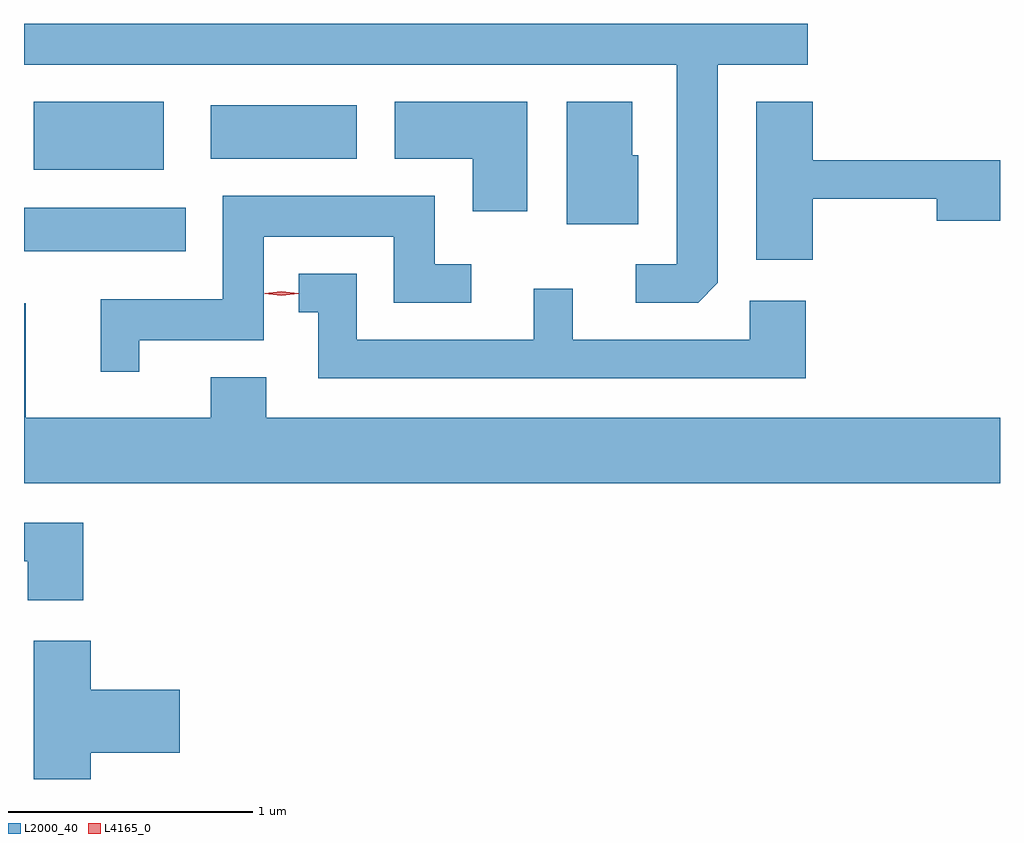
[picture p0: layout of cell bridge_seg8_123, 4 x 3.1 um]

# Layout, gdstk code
import gdstk
lib = gdstk.Library(unit=1e-6, precision=1e-09)
def R(c, l, rs):  # rectangles x0, y0, x1, y1
    for r in rs: c.add(gdstk.rectangle(r[:2], r[2:], *l))
def P(c, l, *ps):  # polygons
    for p in ps: c.add(gdstk.Polygon(p, *l))
L2000_40 = (2000, 40)
L4165_0 = (4165, 0)

bridge_seg8_123 = lib.new_cell('bridge_seg8_123')
R(bridge_seg8_123, L2000_40, [(1660.076,1808.506,1660.739,1808.684), (1660.116,1808.841,1660.649,1809.119), (1660.841,1808.886,1661.439,1809.104)])
P(bridge_seg8_123, L2000_40, [(1662.919,1808.377),(1662.919,1809.271),(1663.288,1809.271),(1663.288,1809.439),(1660.076,1809.439),(1660.076,1809.271),(1662.751,1809.271),(1662.751,1808.454),(1662.583,1808.454),(1662.583,1808.296),(1662.839,1808.296)],
  [(1662.139,1809.119),(1661.596,1809.119),(1661.596,1808.886),(1661.916,1808.886),(1661.916,1808.671),(1662.139,1808.671)],
  [(1663.309,1808.721),(1663.816,1808.721),(1663.816,1808.631),(1664.076,1808.631),(1664.076,1808.879),(1663.309,1808.879),(1663.309,1809.119),(1663.076,1809.119),(1663.076,1808.471),(1663.309,1808.471)],
  [(1662.594,1808.899),(1662.569,1808.899),(1662.569,1809.119),(1662.301,1809.119),(1662.301,1808.616),(1662.594,1808.616)],
  [(1660.549,1808.141),(1661.059,1808.141),(1661.059,1808.566),(1661.591,1808.566),(1661.591,1808.296),(1661.908,1808.296),(1661.908,1808.454),(1661.759,1808.454),(1661.759,1808.734),(1660.891,1808.734),(1660.891,1808.309),(1660.391,1808.309),(1660.391,1808.013),(1660.549,1808.013)],
  [(1663.279,1808.304),(1663.051,1808.304),(1663.051,1808.144),(1662.324,1808.144),(1662.324,1808.353),(1662.166,1808.353),(1662.166,1808.144),(1661.439,1808.144),(1661.439,1808.414),(1661.203,1808.414),(1661.203,1808.256),(1661.281,1808.256),(1661.281,1807.986),(1663.279,1807.986)],
  [(1664.076,1807.824),(1661.069,1807.824),(1661.069,1807.989),(1660.841,1807.989),(1660.841,1807.824),(1660.084,1807.824),(1660.084,1808.293),(1660.076,1808.293),(1660.076,1807.556),(1664.076,1807.556)],
  [(1660.319,1807.394),(1660.076,1807.394),(1660.076,1807.236),(1660.091,1807.236),(1660.091,1807.076),(1660.319,1807.076)],
  [(1660.349,1806.451),(1660.714,1806.451),(1660.714,1806.709),(1660.349,1806.709),(1660.349,1806.909),(1660.116,1806.909),(1660.116,1806.342),(1660.349,1806.342)])
P(bridge_seg8_123, L4165_0, [(1661.131,1808.324),(1661.062,1808.333),(1661.062,1808.334),(1661.062,1808.334),(1661.131,1808.343),(1661.201,1808.334),(1661.201,1808.333),(1661.201,1808.333)])

lib.write_gds('bridge_seg8_123.gds')
